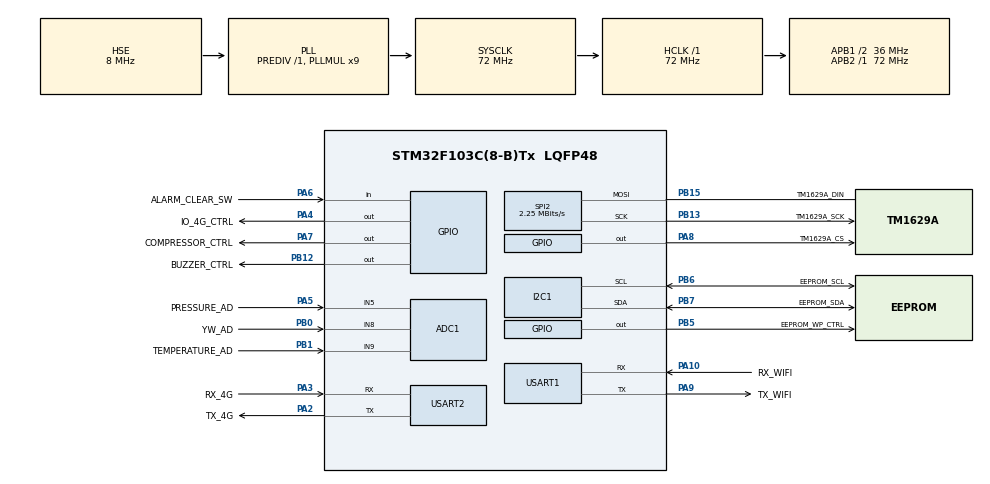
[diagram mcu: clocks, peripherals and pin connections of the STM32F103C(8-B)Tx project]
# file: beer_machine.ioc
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ADC1.Channel-0\#ChannelRegularConversion=ADC_CHANNEL_5
ADC1.Channel-1\#ChannelRegularConversion=ADC_CHANNEL_9
ADC1.ContinuousConvMode=DISABLE
ADC1.DataAlign=ADC_DATAALIGN_RIGHT
ADC1.DiscontinuousConvMode=DISABLE
ADC1.EnableAnalogWatchDog=false
ADC1.EnableRegularConversion=ENABLE
ADC1.ExternalTrigConv=ADC_SOFTWARE_START
ADC1.InjNumberOfConversion=0
ADC1.NbrOfConversion=2
ADC1.NbrOfConversionFlag=1
ADC1.Rank-0\#ChannelRegularConversion=1
ADC1.Rank-1\#ChannelRegularConversion=2
ADC1.SamplingTime-0\#ChannelRegularConversion=ADC_SAMPLETIME_239CYCLES_5
ADC1.SamplingTime-1\#ChannelRegularConversion=ADC_SAMPLETIME_239CYCLES_5
ADC1.ScanConvMode=ADC_SCAN_ENABLE
ADC1.master=1
Dma.ADC1.0.Direction=DMA_PERIPH_TO_MEMORY
Dma.ADC1.0.Instance=DMA1_Channel1
Dma.ADC1.0.MemDataAlignment=DMA_MDATAALIGN_HALFWORD
Dma.ADC1.0.MemInc=DMA_MINC_ENABLE
Dma.ADC1.0.Mode=DMA_NORMAL
Dma.ADC1.0.PeriphDataAlignment=DMA_PDATAALIGN_HALFWORD
Dma.ADC1.0.PeriphInc=DMA_PINC_DISABLE
Dma.ADC1.0.Priority=DMA_PRIORITY_LOW
Dma.Request0=ADC1
FREERTOS.INCLUDE_uxTaskGetStackHighWaterMark=1
FREERTOS.INCLUDE_vTaskDelayUntil=1
FREERTOS.INCLUDE_xEventGroupSetBitFromISR=1
FREERTOS.INCLUDE_xTimerPendFunctionCall=1
FREERTOS.Tasks01=defaultTask,0,128,StartDefaultTask,Default,NULL
FREERTOS.configCHECK_FOR_STACK_OVERFLOW=2
FREERTOS.configTIMER_TASK_PRIORITY=3
FREERTOS.configTOTAL_HEAP_SIZE=10240
FREERTOS.configUSE_APPLICATION_TASK_TAG=1
FREERTOS.configUSE_IDLE_HOOK=1
FREERTOS.configUSE_MALLOC_FAILED_HOOK=1
FREERTOS.configUSE_TICKLESS_IDLE=1
FREERTOS.configUSE_TICK_HOOK=1
FREERTOS.configUSE_TIMERS=1
IWDG.Prescaler=IWDG_PRESCALER_32
IWDG.Reload=499
Mcu.Family=STM32F1
Mcu.Name=STM32F103C(8-B)Tx
Mcu.Package=LQFP48
NVIC.DMA1_Channel1_IRQn=true\:5\:0\:false\:false\:true\:true\:false
NVIC.PriorityGroup=NVIC_PRIORITYGROUP_4
NVIC.SPI2_IRQn=true\:5\:0\:false\:false\:true\:true\:true
NVIC.USART1_IRQn=true\:5\:0\:false\:false\:true\:true\:true
NVIC.USART2_IRQn=true\:5\:0\:false\:false\:true\:true\:true
PA10.GPIO_Label=RX_WIFI
PA10.Mode=Asynchronous
PA10.Signal=USART1_RX
PA13.Mode=JTAG_5_pins
PA13.Signal=SYS_JTMS-SWDIO
PA14.Mode=JTAG_5_pins
PA14.Signal=SYS_JTCK-SWCLK
PA15.Mode=JTAG_5_pins
PA15.Signal=SYS_JTDI
PA2.GPIO_Label=TX_4G
PA2.Mode=Asynchronous
PA2.Signal=USART2_TX
PA3.GPIO_Label=RX_4G
PA3.Mode=Asynchronous
PA3.Signal=USART2_RX
PA4.GPIO_Label=IO_4G_CTRL
PA4.Signal=GPIO_Output
PA5.GPIO_Label=PRESSURE_AD
PA5.Signal=ADCx_IN5
PA6.GPIO_Label=ALARM_CLEAR_SW
PA6.GPIO_PuPd=GPIO_PULLUP
PA6.Signal=GPIO_Input
PA7.GPIO_Label=COMPRESSOR_CTRL
PA7.Signal=GPIO_Output
PA8.GPIO_Label=TM1629A_CS
PA8.Signal=GPIO_Output
PA9.GPIO_Label=TX_WIFI
PA9.Mode=Asynchronous
PA9.Signal=USART1_TX
PB0.GPIO_Label=YW_AD
PB0.Signal=ADCx_IN8
PB1.GPIO_Label=TEMPERATURE_AD
PB1.Signal=ADCx_IN9
PB12.GPIO_Label=BUZZER_CTRL
PB12.Signal=GPIO_Output
PB13.GPIO_Label=TM1629A_SCK
PB13.Mode=Simplex_Bidirectional_Master
PB13.Signal=SPI2_SCK
PB15.GPIO_Label=TM1629A_DIN
PB15.Mode=Simplex_Bidirectional_Master
PB15.Signal=SPI2_MOSI
PB3.Mode=JTAG_5_pins
PB3.Signal=SYS_JTDO-TRACESWO
PB4.Mode=JTAG_5_pins
PB4.Signal=SYS_NJTRST
PB5.GPIO_Label=EEPROM_WP_CTRL
PB5.Signal=GPIO_Output
PB6.GPIO_Label=EEPROM_SCL
PB6.Mode=I2C
PB6.Signal=I2C1_SCL
PB7.GPIO_Label=EEPROM_SDA
PB7.Mode=I2C
PB7.Signal=I2C1_SDA
PD0-OSC_IN.Mode=HSE-External-Oscillator
PD0-OSC_IN.Signal=RCC_OSC_IN
PD1-OSC_OUT.Mode=HSE-External-Oscillator
PD1-OSC_OUT.Signal=RCC_OSC_OUT
ProjectManager.HeapSize=0x00
ProjectManager.StackSize=0x400
ProjectManager.TargetToolchain=EWARM V7
RCC.ADCPresc=RCC_ADCPCLK2_DIV6
RCC.AHBFreq_Value=72000000
RCC.APB1CLKDivider=RCC_HCLK_DIV2
RCC.APB1Freq_Value=36000000
RCC.APB1TimFreq_Value=72000000
RCC.APB2Freq_Value=72000000
RCC.APB2TimFreq_Value=72000000
RCC.HCLKFreq_Value=72000000
RCC.PLLMUL=RCC_PLL_MUL9
RCC.PLLSourceVirtual=RCC_PLLSOURCE_HSE
RCC.SYSCLKFreq_VALUE=72000000
RCC.SYSCLKSource=RCC_SYSCLKSOURCE_PLLCLK
RCC.USBFreq_Value=48000000
RCC.USBPrescaler=RCC_USBCLKSOURCE_PLL_DIV1_5
SH.ADCx_IN5.0=ADC1_IN5,IN5
SH.ADCx_IN8.0=ADC1_IN8,IN8
SH.ADCx_IN9.0=ADC1_IN9,IN9
SPI2.BaudRatePrescaler=SPI_BAUDRATEPRESCALER_16
SPI2.CalculateBaudRate=2.25 MBits/s
SPI2.Direction=SPI_DIRECTION_1LINE
SPI2.FirstBit=SPI_FIRSTBIT_LSB
SPI2.Mode=SPI_MODE_MASTER
SPI2.VirtualType=VM_MASTER
USART1.VirtualMode=VM_ASYNC
USART2.VirtualMode=VM_ASYNC
VP_FREERTOS_VS_ENABLE.Mode=Enabled
VP_IWDG_VS_IWDG.Mode=IWDG_Activate
board=custom

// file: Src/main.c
/**
  ******************************************************************************
  * @file           : main.c
  * @brief          : Main program body
  ******************************************************************************
  * This notice applies to any and all portions of this file
  * that are not between comment pairs USER CODE BEGIN and
  * USER CODE END. Other portions of this file, whether
  * inserted by the user or by software development tools
  * are owned by their respective copyright owners.
  *
  * Copyright (c) 2018 STMicroelectronics International N.V.
  * All rights reserved.
  *
  * Redistribution and use in source and binary forms, with or without
  * modification, are permitted, provided that the following conditions are met:
  *
  * 1. Redistribution of source code must retain the above copyright notice,
  *    this list of conditions and the following disclaimer.
  * 2. Redistributions in binary form must reproduce the above copyright notice,
  *    this list of conditions and the following disclaimer in the documentation
  *    and/or other materials provided with the distribution.
  * 3. Neither the name of STMicroelectronics nor the names of other
  *    contributors to this software may be used to endorse or promote products
  *    derived from this software without specific written permission.
  * 4. This software, including modifications and/or derivative works of this
  *    software, must execute solely and exclusively on microcontroller or
  *    microprocessor devices manufactured by or for STMicroelectronics.
  * 5. Redistribution and use of this software other than as permitted under
  *    this license is void and will automatically terminate your rights under
  *    this license.
  *
  * THIS SOFTWARE IS PROVIDED BY STMICROELECTRONICS AND CONTRIBUTORS "AS IS"
  * AND ANY EXPRESS, IMPLIED OR STATUTORY WARRANTIES, INCLUDING, BUT NOT
  * LIMITED TO, THE IMPLIED WARRANTIES OF MERCHANTABILITY, FITNESS FOR A
  * PARTICULAR PURPOSE AND NON-INFRINGEMENT OF THIRD PARTY INTELLECTUAL PROPERTY
  * RIGHTS ARE DISCLAIMED TO THE FULLEST EXTENT PERMITTED BY LAW. IN NO EVENT
  * SHALL STMICROELECTRONICS OR CONTRIBUTORS BE LIABLE FOR ANY DIRECT, INDIRECT,
  * INCIDENTAL, SPECIAL, EXEMPLARY, OR CONSEQUENTIAL DAMAGES (INCLUDING, BUT NOT
  * LIMITED TO, PROCUREMENT OF SUBSTITUTE GOODS OR SERVICES; LOSS OF USE, DATA,
  * OR PROFITS; OR BUSINESS INTERRUPTION) HOWEVER CAUSED AND ON ANY THEORY OF
  * LIABILITY, WHETHER IN CONTRACT, STRICT LIABILITY, OR TORT (INCLUDING
  * NEGLIGENCE OR OTHERWISE) ARISING IN ANY WAY OUT OF THE USE OF THIS SOFTWARE,
  * EVEN IF ADVISED OF THE POSSIBILITY OF SUCH DAMAGE.
  *
  ******************************************************************************
  */
#include "main.h"
#include "stm32f1xx_hal.h"
#include "cmsis_os.h"
#include "adc.h"
#include "dma.h"
#include "i2c.h"
#include "iwdg.h"
#include "spi.h"
#include "usart.h"
#include "gpio.h"

/* USER CODE BEGIN PV */
/* Private variables ---------------------------------------------------------*/

/* USER CODE END PV */

void SystemClock_Config(void);
void MX_FREERTOS_Init(void);

/* USER CODE BEGIN PFP */
/* Private function prototypes -----------------------------------------------*/

/* USER CODE END PFP */

int main(void)
{

  /* MCU Configuration----------------------------------------------------------*/

  /* Reset of all peripherals, Initializes the Flash interface and the Systick. */
  HAL_Init();

  /* Configure the system clock */
  SystemClock_Config();

  /* Initialize all configured peripherals */
  MX_GPIO_Init();
  MX_DMA_Init();
  MX_I2C1_Init();
  MX_USART1_UART_Init();
  MX_USART2_UART_Init();
  MX_IWDG_Init();
  MX_ADC1_Init();
  MX_SPI2_Init();

  /* Call init function for freertos objects (in freertos.c) */
  MX_FREERTOS_Init();

  /* Start scheduler */
  osKernelStart();

  /* We should never get here as control is now taken by the scheduler */

  /* Infinite loop */
  while (1)
  {

  }

}

void SystemClock_Config(void)
{

  RCC_OscInitTypeDef RCC_OscInitStruct;
  RCC_ClkInitTypeDef RCC_ClkInitStruct;
  RCC_PeriphCLKInitTypeDef PeriphClkInit;

    /**Initializes the CPU, AHB and APB busses clocks
    */
  RCC_OscInitStruct.OscillatorType = RCC_OSCILLATORTYPE_LSI|RCC_OSCILLATORTYPE_HSE;
  RCC_OscInitStruct.HSEState = RCC_HSE_ON;
  RCC_OscInitStruct.HSEPredivValue = RCC_HSE_PREDIV_DIV1;
  RCC_OscInitStruct.HSIState = RCC_HSI_ON;
  RCC_OscInitStruct.LSIState = RCC_LSI_ON;
  RCC_OscInitStruct.PLL.PLLState = RCC_PLL_ON;
  RCC_OscInitStruct.PLL.PLLSource = RCC_PLLSOURCE_HSE;
  RCC_OscInitStruct.PLL.PLLMUL = RCC_PLL_MUL9;
  if (HAL_RCC_OscConfig(&RCC_OscInitStruct) != HAL_OK)
  {
    _Error_Handler(__FILE__, __LINE__);
  }

    /**Initializes the CPU, AHB and APB busses clocks
    */
  RCC_ClkInitStruct.ClockType = RCC_CLOCKTYPE_HCLK|RCC_CLOCKTYPE_SYSCLK
                              |RCC_CLOCKTYPE_PCLK1|RCC_CLOCKTYPE_PCLK2;
  RCC_ClkInitStruct.SYSCLKSource = RCC_SYSCLKSOURCE_PLLCLK;
  RCC_ClkInitStruct.AHBCLKDivider = RCC_SYSCLK_DIV1;
  RCC_ClkInitStruct.APB1CLKDivider = RCC_HCLK_DIV2;
  RCC_ClkInitStruct.APB2CLKDivider = RCC_HCLK_DIV1;

  if (HAL_RCC_ClockConfig(&RCC_ClkInitStruct, FLASH_LATENCY_2) != HAL_OK)
  {
    _Error_Handler(__FILE__, __LINE__);
  }

  PeriphClkInit.PeriphClockSelection = RCC_PERIPHCLK_ADC;
  PeriphClkInit.AdcClockSelection = RCC_ADCPCLK2_DIV6;
  if (HAL_RCCEx_PeriphCLKConfig(&PeriphClkInit) != HAL_OK)
  {
    _Error_Handler(__FILE__, __LINE__);
  }

    /**Configure the Systick interrupt time
    */
  HAL_SYSTICK_Config(HAL_RCC_GetHCLKFreq()/1000);

    /**Configure the Systick
    */
  HAL_SYSTICK_CLKSourceConfig(SYSTICK_CLKSOURCE_HCLK);

  /* SysTick_IRQn interrupt configuration */
  HAL_NVIC_SetPriority(SysTick_IRQn, 15, 0);
}

void _Error_Handler(char *file, int line)
{
  while(1)
  {
  }
}

/************************ (C) COPYRIGHT STMicroelectronics *****END OF FILE****/

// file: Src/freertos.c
/**
  ******************************************************************************
  * File Name          : freertos.c
  * Description        : Code for freertos applications
  ******************************************************************************
  * This notice applies to any and all portions of this file
  * that are not between comment pairs USER CODE BEGIN and
  * USER CODE END. Other portions of this file, whether
  * inserted by the user or by software development tools
  * are owned by their respective copyright owners.
  *
  * Copyright (c) 2018 STMicroelectronics International N.V.
  * All rights reserved.
  *
  * Redistribution and use in source and binary forms, with or without
  * modification, are permitted, provided that the following conditions are met:
  *
  * 1. Redistribution of source code must retain the above copyright notice,
  *    this list of conditions and the following disclaimer.
  * 2. Redistributions in binary form must reproduce the above copyright notice,
  *    this list of conditions and the following disclaimer in the documentation
  *    and/or other materials provided with the distribution.
  * 3. Neither the name of STMicroelectronics nor the names of other
  *    contributors to this software may be used to endorse or promote products
  *    derived from this software without specific written permission.
  * 4. This software, including modifications and/or derivative works of this
  *    software, must execute solely and exclusively on microcontroller or
  *    microprocessor devices manufactured by or for STMicroelectronics.
  * 5. Redistribution and use of this software other than as permitted under
  *    this license is void and will automatically terminate your rights under
  *    this license.
  *
  * THIS SOFTWARE IS PROVIDED BY STMICROELECTRONICS AND CONTRIBUTORS "AS IS"
  * AND ANY EXPRESS, IMPLIED OR STATUTORY WARRANTIES, INCLUDING, BUT NOT
  * LIMITED TO, THE IMPLIED WARRANTIES OF MERCHANTABILITY, FITNESS FOR A
  * PARTICULAR PURPOSE AND NON-INFRINGEMENT OF THIRD PARTY INTELLECTUAL PROPERTY
  * RIGHTS ARE DISCLAIMED TO THE FULLEST EXTENT PERMITTED BY LAW. IN NO EVENT
  * SHALL STMICROELECTRONICS OR CONTRIBUTORS BE LIABLE FOR ANY DIRECT, INDIRECT,
  * INCIDENTAL, SPECIAL, EXEMPLARY, OR CONSEQUENTIAL DAMAGES (INCLUDING, BUT NOT
  * LIMITED TO, PROCUREMENT OF SUBSTITUTE GOODS OR SERVICES; LOSS OF USE, DATA,
  * OR PROFITS; OR BUSINESS INTERRUPTION) HOWEVER CAUSED AND ON ANY THEORY OF
  * LIABILITY, WHETHER IN CONTRACT, STRICT LIABILITY, OR TORT (INCLUDING
  * NEGLIGENCE OR OTHERWISE) ARISING IN ANY WAY OUT OF THE USE OF THIS SOFTWARE,
  * EVEN IF ADVISED OF THE POSSIBILITY OF SUCH DAMAGE.
  *
  ******************************************************************************
  */

#include "FreeRTOS.h"
#include "task.h"
#include "cmsis_os.h"

/* USER CODE BEGIN Includes */
#include "iwdg.h"
#include "i2c.h"
#include "cpu_utils.h"
#include "tasks_init.h"
#include "adc_task.h"
#include "alarm_task.h"
#include "compressor_task.h"
#include "display_task.h"
#include "temperature_task.h"
#include "pressure_task.h"
#include "led.h"
#include "firmware_version.h"
#include "log.h"
#define  LOG_MODULE_LEVEL    LOG_LEVEL_DEBUG
#define  LOG_MODULE_NAME     "[main]"
/* USER CODE END Includes */

osThreadId defaultTaskHandle;

void StartDefaultTask(void const * argument);

void MX_FREERTOS_Init(void); /* (MISRA C 2004 rule 8.1) */

/* Pre/Post sleep processing prototypes */
void PreSleepProcessing(uint32_t *ulExpectedIdleTime);
void PostSleepProcessing(uint32_t *ulExpectedIdleTime);

/* Hook prototypes */
void vApplicationIdleHook(void);
void vApplicationTickHook(void);
void vApplicationStackOverflowHook(xTaskHandle xTask, signed char *pcTaskName);
void vApplicationMallocFailedHook(void);

/* USER CODE BEGIN 2 */
__weak void vApplicationIdleHook( void )
{
   /* vApplicationIdleHook() will only be called if configUSE_IDLE_HOOK is set
   to 1 in FreeRTOSConfig.h. It will be called on each iteration of the idle
   task. It is essential that code added to this hook function never attempts
   to block in any way (for example, call xQueueReceive() with a block time
   specified, or call vTaskDelay()). If the application makes use of the
   vTaskDelete() API function (as this demo application does) then it is also
   important that vApplicationIdleHook() is permitted to return to its calling
   function, because it is the responsibility of the idle task to clean up
   memory allocated by the kernel to any task that has since been deleted. */
}
/* USER CODE END 2 */

/* USER CODE BEGIN 3 */
__weak void vApplicationTickHook( void )
{
   /* This function will be called by each tick interrupt if
   configUSE_TICK_HOOK is set to 1 in FreeRTOSConfig.h. User code can be
   added here, but the tick hook is called from an interrupt context, so
   code must not attempt to block, and only the interrupt safe FreeRTOS API
   functions can be used (those that end in FromISR()). */
}
/* USER CODE END 3 */

/* USER CODE BEGIN 4 */
__weak void vApplicationStackOverflowHook(xTaskHandle xTask, signed char *pcTaskName)
{
   /* Run time stack overflow checking is performed if
   configCHECK_FOR_STACK_OVERFLOW is defined to 1 or 2. This hook function is
   called if a stack overflow is detected. */
   log_assert(0);
}
/* USER CODE END 4 */

/* USER CODE BEGIN 5 */
__weak void vApplicationMallocFailedHook(void)
{
   /* vApplicationMallocFailedHook() will only be called if
   configUSE_MALLOC_FAILED_HOOK is set to 1 in FreeRTOSConfig.h. It is a hook
   function that will get called if a call to pvPortMalloc() fails.
   pvPortMalloc() is called internally by the kernel whenever a task, queue,
   timer or semaphore is created. It is also called by various parts of the
   demo application. If heap_1.c or heap_2.c are used, then the size of the
   heap available to pvPortMalloc() is defined by configTOTAL_HEAP_SIZE in
   FreeRTOSConfig.h, and the xPortGetFreeHeapSize() API function can be used
   to query the size of free heap space that remains (although it does not
   provide information on how the remaining heap might be fragmented). */
  log_assert(0);
}
/* USER CODE END 5 */

/* USER CODE BEGIN PREPOSTSLEEP */
__weak void PreSleepProcessing(uint32_t *ulExpectedIdleTime)
{
/* place for user code */
}

__weak void PostSleepProcessing(uint32_t *ulExpectedIdleTime)
{
/* place for user code */
}
/* USER CODE END PREPOSTSLEEP */

/* Init FreeRTOS */

void MX_FREERTOS_Init(void) {
  /* USER CODE BEGIN Init */
    log_init();
    tasks_init();
    log_debug("version:%s.\r\n",FIRMWARE_VERSION_STR);
  /* USER CODE END Init */

  /* Create the thread(s) */
  /* definition and creation of defaultTask */
  osThreadDef(defaultTask, StartDefaultTask, osPriorityNormal, 0, 128);
  defaultTaskHandle = osThreadCreate(osThread(defaultTask), NULL);

  /* USER CODE BEGIN RTOS_THREADS */

  osThreadDef(adc_task,adc_task, osPriorityNormal, 0, 128);
  adc_task_hdl = osThreadCreate(osThread(adc_task), NULL);
    /* temperature_task */
  osThreadDef(temperature_task, temperature_task, osPriorityNormal, 0, 128);
  temperature_task_hdl = osThreadCreate(osThread(temperature_task), NULL);

    /* pressure_task */
  osThreadDef(pressure_task, pressure_task, osPriorityNormal, 0, 128);
  pressure_task_hdl = osThreadCreate(osThread(pressure_task), NULL);

    /* compressor_task */
  osThreadDef(compressor_task, compressor_task, osPriorityNormal, 0, 128);
  compressor_task_hdl = osThreadCreate(osThread(compressor_task), NULL);

    /* alarm_task */
  osThreadDef(alarm_task, alarm_task, osPriorityNormal, 0, 144);
  alarm_task_hdl = osThreadCreate(osThread(alarm_task), NULL);

    /* display_task */
  osThreadDef(display_task, display_task, osPriorityNormal, 0, 128);
  display_task_hdl = osThreadCreate(osThread(display_task), NULL);

  /* USER CODE END RTOS_THREADS */

}

/* StartDefaultTask function */
void StartDefaultTask(void const * argument)
{

  /* USER CODE BEGIN StartDefaultTask */
  uint8_t debug[3];
  uint8_t w_eeprom[16],r_eeprom[16];

  HAL_StatusTypeDef status;
  for(uint8_t i=0;i<16;i++){
  w_eeprom[i]=i;
  }

  for(;;)
  {
    osDelay(200);
    sys_feed_dog();
    if(log_read(debug,3)==3){
      switch(debug[0]){
      case 'u':
      log_warning("cpu:%d%%.\r\n",osGetCPUUsage());
      break;

      case 'w':
      status = HAL_I2C_Mem_Write(&hi2c1,0xa0,0x00,I2C_MEMADD_SIZE_8BIT,w_eeprom,16,0xfff);
      if(status !=HAL_OK){
      log_error("write eeprom error.%d.\r\n",status);
      }
      log_debug("write eeprom ok.%d.\r\n",status);
      break;

      case 'r':
      status = HAL_I2C_Mem_Read(&hi2c1,0xa0,0x00,I2C_MEMADD_SIZE_8BIT,r_eeprom,16,0xfff);
      if(status !=HAL_OK){
      log_error("read eeprom error.%d.\r\n",status);
      }
      for(uint8_t i=0;i<16;i++){
      log_debug("r[%d]=%d.\r\n",i,r_eeprom[i]);
      }
      break;
      case 'b':
      led_display_brightness(debug[1]-'0');
      log_debug("brightness:%d.\r\n",debug[1]-'0');
      break;
      default:
      break;
      }
     }
  }
  /* USER CODE END StartDefaultTask */
}

/* USER CODE BEGIN Application */
uint32_t log_time()
{
 return osKernelSysTick();
}
/* USER CODE END Application */

/************************ (C) COPYRIGHT STMicroelectronics *****END OF FILE****/
